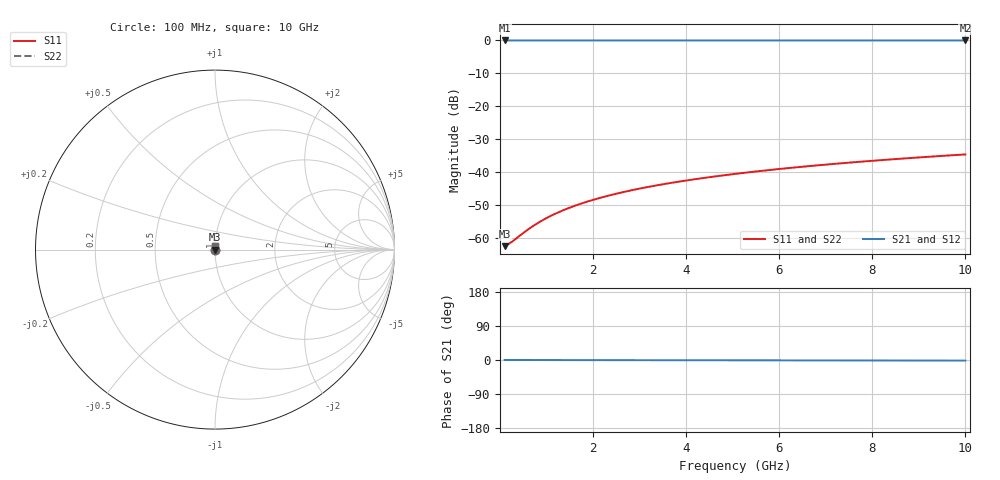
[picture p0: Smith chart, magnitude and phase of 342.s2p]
# Hz S RI R 50.00
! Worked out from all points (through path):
!   100 points, 100 MHz to 10 GHz, reference 50 ohm
!   highest |S21| = -0.01 dB at 100 MHz (marker M1); lowest = 0.0 dB at 10 GHz (marker M2)
!   lowest |S11| = -62.6 dB at 100 MHz (marker M3), VSWR 1.00, Z = 50.1 + j0.0183 ohm
!   |S11| at or under -10 dB: start of sweep to end of sweep
!   |S22| runs from -62.6 to -34.7 dB; largest |S21 - S12| = 1e-15
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1e8  0.000715 0.000183  0.9993 -0.000273  0.9993 -0.000273  0.000715 0.000183
2e8  0.00072 0.000366  0.9993 -0.000546  0.9993 -0.000546  0.00072 0.000366
3e8  0.000724 0.000549  0.9993 -0.000818  0.9993 -0.000818  0.000724 0.000549
5e8  0.00073 0.000915  0.9993 -0.00136  0.9993 -0.00136  0.00073 0.000915
7e8  0.000735 0.00128  0.9993 -0.00191  0.9993 -0.00191  0.000735 0.00128
8e8  0.000738 0.00146  0.9993 -0.00218  0.9993 -0.00218  0.000738 0.00146
1e9  0.000742 0.00183  0.9993 -0.00273  0.9993 -0.00273  0.000742 0.00183
1.2e9  0.000747 0.0022  0.9993 -0.00327  0.9993 -0.00327  0.000747 0.0022
1.4e9  0.000752 0.00256  0.9992 -0.00382  0.9992 -0.00382  0.000752 0.00256
1.6e9  0.000757 0.00293  0.9992 -0.00437  0.9992 -0.00437  0.000757 0.00293
1.8e9  0.000763 0.0033  0.9992 -0.00491  0.9992 -0.00491  0.000763 0.0033
2.1e9  0.000772 0.00384  0.9992 -0.00573  0.9992 -0.00573  0.000772 0.00384
2.5e9  0.000784 0.00458  0.9992 -0.00682  0.9992 -0.00682  0.000784 0.00458
2.9e9  0.000798 0.00531  0.9992 -0.00791  0.9992 -0.00791  0.000798 0.00531
3.4e9  0.000818 0.00623  0.9992 -0.00928  0.9992 -0.00928  0.000818 0.00623
4.2e9  0.000853 0.00769  0.9991 -0.0115  0.9991 -0.0115  0.000853 0.00769
5.1e9  0.000901 0.00934  0.9991 -0.0139  0.9991 -0.0139  0.000901 0.00934
5.9e9  0.00095 0.0108  0.999 -0.0161  0.999 -0.0161  0.00095 0.0108
6.7e9  0.00101 0.0123  0.999 -0.0183  0.999 -0.0183  0.00101 0.0123
7.5e9  0.00107 0.0137  0.9989 -0.0205  0.9989 -0.0205  0.00107 0.0137
8.4e9  0.00114 0.0154  0.9988 -0.023  0.9988 -0.023  0.00114 0.0154
1e10  0.0013 0.0184  0.9986 -0.0274  0.9986 -0.0274  0.0013 0.0184
